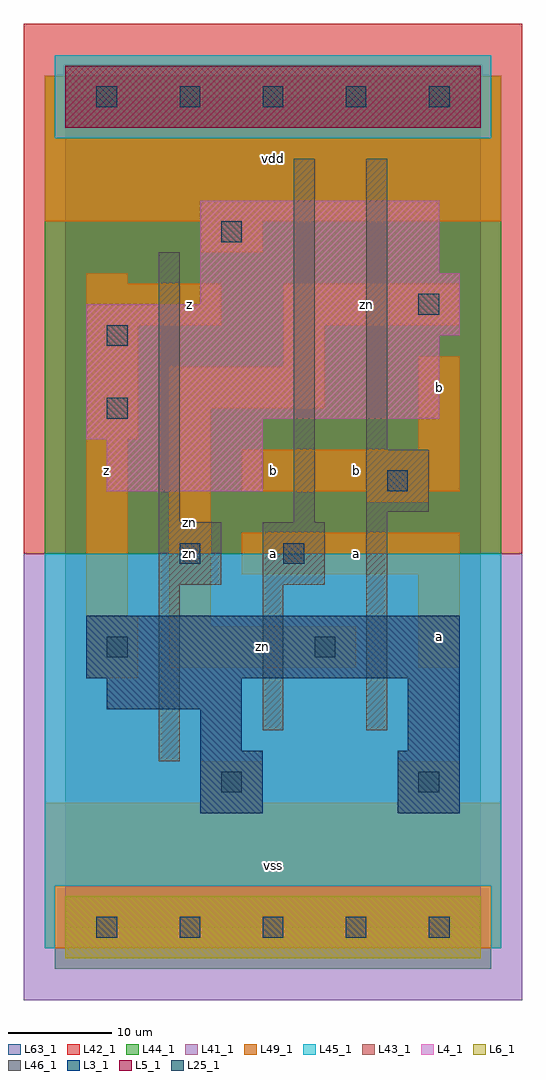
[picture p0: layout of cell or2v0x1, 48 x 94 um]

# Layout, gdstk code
import gdstk
lib = gdstk.Library(unit=1e-6, precision=1e-09)
def R(c, l, rs):  # rectangles x0, y0, x1, y1
    for r in rs: c.add(gdstk.rectangle(r[:2], r[2:], *l))
def A(c, l, x, y, w, h, nx, ny, dx, dy):  # array of equal rectangles
    R(c, l, [(x+i*dx, y+j*dy, x+i*dx+w, y+j*dy+h) for i in range(nx) for j in range(ny)])
L3_1 = (3, 1)
L4_1 = (4, 1)
L5_1 = (5, 1)
L6_1 = (6, 1)
L25_1 = (25, 1)
L41_1 = (41, 1)
L42_1 = (42, 1)
L43_1 = (43, 1)
L44_1 = (44, 1)
L45_1 = (45, 1)
L46_1 = (46, 1)
L49_1 = (49, 1)
L63_1 = (63, 1)

or2v0x1 = lib.new_cell('or2v0x1')
R(or2v0x1, L3_1, [(13,11,19,17), (32,11,38,17), (13,17,17,21), (33,17,38,24), (4,21,17,24), (2,24,38,30)])
R(or2v0x1, L4_1, [(4,42,19,47), (2,47,19,49), (2,49,36,57), (2,57,38,60), (13,60,38,63), (13,63,36,70)])
R(or2v0x1, L5_1, [(0,77,40,83)])
R(or2v0x1, L6_1, [(0,-3,40,3), (0,-3,40,3)])
A(or2v0x1, L25_1, 3, -1, 2, 2, 5, 2, 8, 80)
R(or2v0x1, L25_1, [(15,13,17,15), (34,13,36,15), (4,26,6,28), (24,26,26,28), (11,35,13,37), (21,35,23,37), (31,42,33,44), (4,49,6,51), (4,56,6,58), (34,59,36,61), (15,66,17,68)])
R(or2v0x1, L41_1, [(-4,-7,44,36)])
R(or2v0x1, L42_1, [(-4,36,44,87)])
R(or2v0x1, L43_1, [(0,-3,40,3), (13,11,19,17), (32,11,38,17), (13,17,17,21), (33,17,38,24), (4,21,17,24), (2,24,38,30), (4,42,19,47), (2,47,19,49), (2,49,36,57), (2,57,38,60), (13,60,38,63), (13,63,36,70), (0,77,40,83)])
R(or2v0x1, L44_1, [(-1,-4,41,4), (-2,36,42,76), (-2,76,-1,82), (41,76,42,82)])
R(or2v0x1, L45_1, [(-2,-2,-1,4), (41,-2,42,4), (-2,4,42,36), (-1,76,41,84)])
R(or2v0x1, L46_1, [(9,16,11,33), (19,19,21,33), (29,19,31,40), (9,33,15,39), (19,33,25,39), (9,39,11,65), (22,39,24,74), (29,40,35,46), (29,46,31,74)])
R(or2v0x1, L49_1, [(-2,-2,42,12), (13,12,19,16), (32,12,38,16), (2,24,7,30), (10,25,28,29), (34,25,38,34), (10,29,14,50), (2,30,6,47), (17,34,38,38), (29,41,35,42), (17,42,38,46), (34,46,38,55), (2,47,7,58), (10,50,25,54), (21,54,25,58), (2,58,15,62), (21,58,38,62), (2,62,6,63), (13,65,19,68), (-2,68,42,82)])
R(or2v0x1, L63_1, [(0,0,40,80)])
or2v0x1.add(gdstk.Label('zn', (12,36), layer=49, texttype=1))
or2v0x1.add(gdstk.Label('z', (4,44), layer=49, texttype=1))
or2v0x1.add(gdstk.Label('zn', (12,39), layer=49, texttype=1))
or2v0x1.add(gdstk.Label('z', (12,60), layer=49, texttype=1))
or2v0x1.add(gdstk.Label('vss', (20,6), layer=49, texttype=1))
or2v0x1.add(gdstk.Label('a', (20,36), layer=49, texttype=1))
or2v0x1.add(gdstk.Label('zn', (19,27), layer=49, texttype=1))
or2v0x1.add(gdstk.Label('a', (28,36), layer=49, texttype=1))
or2v0x1.add(gdstk.Label('b', (28,44), layer=49, texttype=1))
or2v0x1.add(gdstk.Label('b', (20,44), layer=49, texttype=1))
or2v0x1.add(gdstk.Label('vdd', (20,74), layer=49, texttype=1))
or2v0x1.add(gdstk.Label('a', (36,28), layer=49, texttype=1))
or2v0x1.add(gdstk.Label('b', (36,52), layer=49, texttype=1))
or2v0x1.add(gdstk.Label('zn', (29,60), layer=49, texttype=1))

lib.write_gds('or2v0x1.gds')
